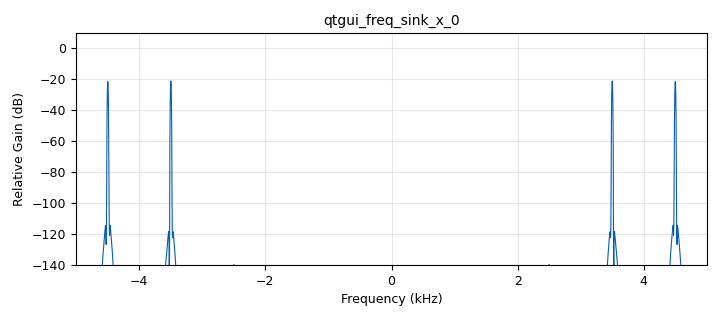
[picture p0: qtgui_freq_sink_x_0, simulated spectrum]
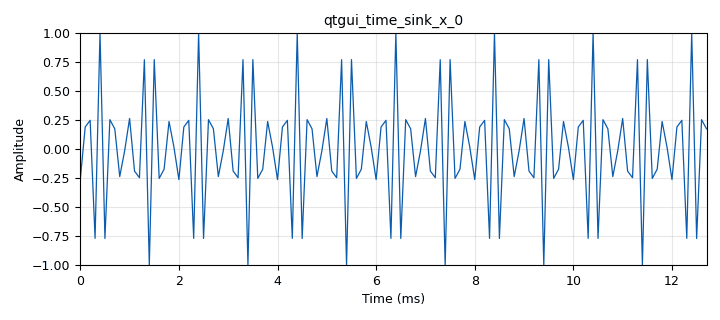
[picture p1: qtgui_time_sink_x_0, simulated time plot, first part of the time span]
options:
  parameters:
    author: Daniela_Cabrales_L1B_G4
    generate_options: qt_gui
    id: Practica_2
    output_language: python
    title: Muestreo_en_GNURADIO
  states: {}

blocks:
- name: freq_a
  id: variable_qtgui_range
  parameters:
    label: frequencyA
    start: '1000'
    step: '1000'
    stop: '40000'
    value: '4000'
  states: {}
- name: freq_b
  id: variable_qtgui_range
  parameters:
    label: frequencyB
    start: '1000'
    step: '1000'
    stop: '40000'
    value: '5000'
  states: {}
- name: freq_c
  id: variable_qtgui_range
  parameters:
    label: frequencyC
    start: '1000'
    step: '1000'
    stop: '40000'
    value: '4500'
  states: {}
- name: samp_rate
  id: variable_qtgui_range
  parameters:
    label: frecuencia de muestreo
    start: '1000'
    step: '1000'
    stop: '80000'
    value: '10000'
  states: {}
- name: analog_sig_source_x_0
  id: analog_sig_source_x
  parameters:
    amp: '1'
    freq: freq_a
    offset: '0'
    phase: '0'
    samp_rate: samp_rate
    type: float
    waveform: analog.GR_COS_WAVE
  states: {}
- name: analog_sig_source_x_0_0
  id: analog_sig_source_x
  parameters:
    amp: '1'
    freq: freq_b
    offset: '0'
    phase: '0'
    samp_rate: samp_rate
    type: float
    waveform: analog.GR_COS_WAVE
  states: {}
- name: analog_sig_source_x_0_0_0
  id: analog_sig_source_x
  parameters:
    amp: '1'
    freq: freq_c
    offset: '0'
    phase: '0'
    samp_rate: samp_rate
    type: float
    waveform: analog.GR_COS_WAVE
  states: {}
- name: blocks_multiply_xx_0
  id: blocks_multiply_xx
  parameters:
    num_inputs: '3'
    type: float
  states: {}
- name: blocks_throttle_0
  id: blocks_throttle
  parameters:
    samples_per_second: samp_rate
    type: float
  states: {}
- name: qtgui_freq_sink_x_0
  id: qtgui_freq_sink_x
  parameters:
    bw: samp_rate
    fc: '0'
    fftsize: '2048'
    type: float
  states: {}
- name: qtgui_time_sink_x_0
  id: qtgui_time_sink_x
  parameters:
    size: '1024'
    srate: samp_rate
    type: float
  states: {}

connections:
- [analog_sig_source_x_0, '0', blocks_multiply_xx_0, '0']
- [analog_sig_source_x_0_0, '0', blocks_multiply_xx_0, '1']
- [analog_sig_source_x_0_0_0, '0', blocks_multiply_xx_0, '2']
- [blocks_multiply_xx_0, '0', blocks_throttle_0, '0']
- [blocks_throttle_0, '0', qtgui_freq_sink_x_0, '0']
- [blocks_throttle_0, '0', qtgui_time_sink_x_0, '0']

metadata:
  file_format: 1
